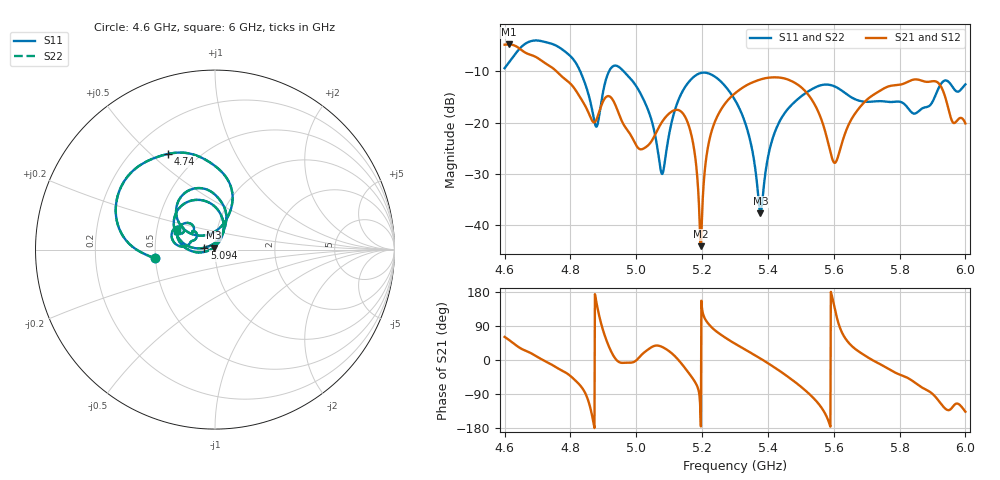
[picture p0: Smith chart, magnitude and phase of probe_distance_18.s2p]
! TOUCHSTONE file generated by CST MICROWAVE STUDIO
! Date and time: Sat Nov 30 13:11:01 2024
! Project name: test_tuning.cst
! Parameters = {airCoaxOuterDiameter=3; chamferAngle=45; chamferWidth=24; connectorLength=10; drillingHoleDiameter=4.1; feedLength=60; flareDiameter=130; flareLength=70; gratingDistance=0; gratingGap=1.90274; outletLength=30; polarizerLength=134; probe1Diameter=1.3; probe1Distance=16.5; probe1Length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
! Header version: 2024
! Port assignment regex: !\s*Touchstone port\s*([0-9]+)\s*=\s*(CST MWS port|CST DES external port|CST DES block port)\s*(.+)\s* \(\"(.*)\"\)(\s*mode\s*([0-9]+))?.*
! Touchstone port assignment:
! Touchstone port 1 = CST MWS port 1 ("Input1")
! Touchstone port 2 = CST MWS port 2 ("Input2")
# GHz S MA R 50
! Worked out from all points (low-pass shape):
!   1001 points, 4.6 GHz to 6 GHz, reference 50 ohm
!   highest |S21| = -4.73 dB at 4.613 GHz (marker M1); lowest = -44.1 dB at 5.196 GHz (marker M2)
!   |S21| within 3 dB of the highest: start of sweep to 4.708 GHz
!   lowest |S11| = -37.7 dB at 5.377 GHz (marker M3), VSWR 1.03, Z = 49.3 + j1.07 ohm
!   |S11| at or under -10 dB: 4.83 GHz to 4.917 GHz (87.16 MHz wide, 1.79 % of centre); 4.962 GHz to end of sweep
!   |S22| runs from -37.7 to -3.9 dB; largest |S21 - S12| = 8.6e-07
!   S11 on the Smith chart (normalised r, x): 4.6 GHz: 0.49, -0.06; 4.74 GHz: 0.35, +0.57; 5.094 GHz: 0.89, +0.02; 6 GHz: 0.64, +0.14
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4.6  0.3403 -171.7  0.577 60.9  0.577 60.9  0.3403 -171.7
4.6126  0.3834 -175.7  0.5803 53.4  0.5803 53.4  0.3834 -175.7
4.67  0.6075 155.1  0.4705 22.1  0.4705 22.1  0.6075 155.1
4.74  0.5933 115.9  0.3525 -10.7  0.3525 -10.7  0.5933 115.9
4.8338  0.2959 70.7  0.1677 -71.6  0.1677 -71.6  0.2959 70.7
4.8786  0.09115 108.4  0.1061 153.7  0.1061 153.7  0.09116 108.4
4.9192  0.3257 130.7  0.1801 30.9  0.1801 30.9  0.3257 130.7
4.964  0.3114 91.1  0.09295 -7.4  0.09295 -7.4  0.3114 91.1
5.0676  0.04762 77.4  0.08857 37.8  0.08858 37.8  0.04762 77.4
5.0942  0.06045 170.3  0.1179 26.7  0.1179 26.7  0.06045 170.3
5.16  0.2505 153.8  0.09252 -34.8  0.09252 -34.8  0.2505 153.8
5.1964  0.3056 130.5  0.006203 -175.3  0.006203 -175.3  0.3056 130.5
5.2272  0.2955 110.3  0.07874 87.9  0.07874 87.9  0.2955 110.3
5.3  0.166 74.3  0.1933 43.1  0.1933 43.1  0.166 74.3
5.3448  0.06962 61.3  0.2403 20.5  0.2403 20.5  0.06962 61.3
5.377  0.01298 123.0  0.2638 4.1  0.2638 4.1  0.01298 123.0
5.4288  0.09272 -170.1  0.2765 -24.7  0.2765 -24.7  0.09272 -170.1
5.5338  0.2123 164.7  0.1665 -96.4  0.1665 -96.4  0.2123 164.7
5.6038  0.225 139.4  0.04048 133.4  0.04048 133.4  0.225 139.4
5.7676  0.1593 141.3  0.2264 -24.3  0.2264 -24.3  0.1593 141.3
5.9118  0.194 174.7  0.2512 -100.0  0.2512 -100.0  0.194 174.7
6  0.2363 154.5  0.09813 -136.4  0.09813 -136.4  0.2363 154.5
